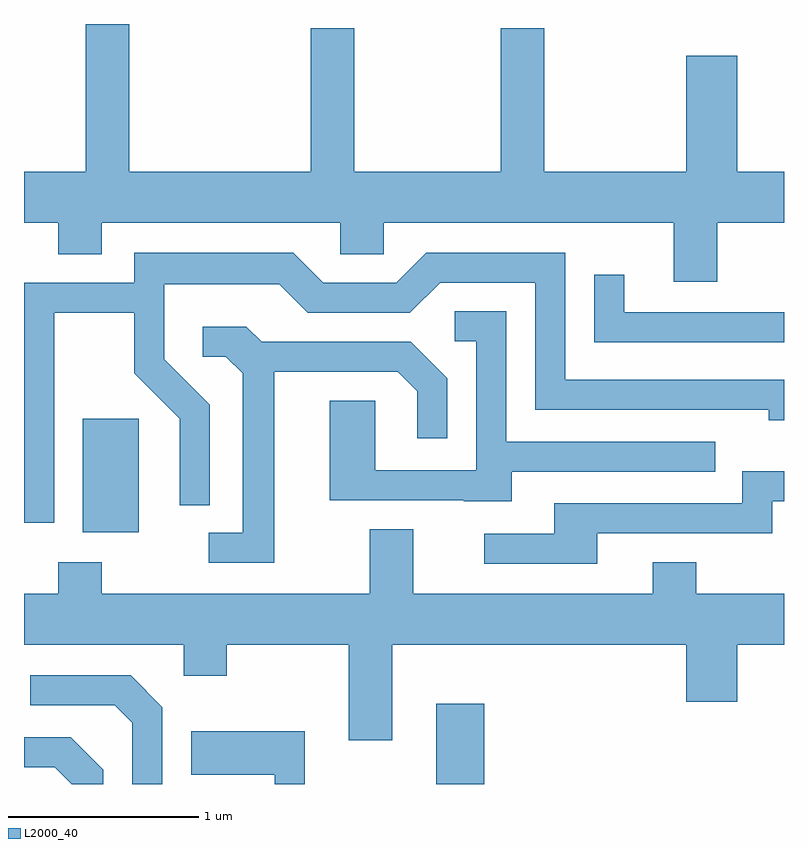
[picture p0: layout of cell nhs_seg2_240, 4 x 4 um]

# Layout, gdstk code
import gdstk
lib = gdstk.Library(unit=1e-6, precision=1e-09)
def R(c, l, rs):  # rectangles x0, y0, x1, y1
    for r in rs: c.add(gdstk.rectangle(r[:2], r[2:], *l))
def P(c, l, *ps):  # polygons
    for p in ps: c.add(gdstk.Polygon(p, *l))
L2000_40 = (2000, 40)

nhs_seg2_240 = lib.new_cell('nhs_seg2_240')
R(nhs_seg2_240, L2000_40, [(193.781,1049.802,194.034,1050.224), (191.921,1051.126,192.214,1051.724)])
P(nhs_seg2_240, L2000_40, [(195.259,1052.756),(195.611,1052.756),(195.611,1053.024),(195.364,1053.024),(195.364,1053.634),(195.096,1053.634),(195.096,1053.024),(194.349,1053.024),(194.349,1053.779),(194.121,1053.779),(194.121,1053.024),(193.349,1053.024),(193.349,1053.779),(193.121,1053.779),(193.121,1053.024),(192.164,1053.024),(192.164,1053.802),(191.936,1053.802),(191.936,1053.024),(191.611,1053.024),(191.611,1052.756),(191.791,1052.756),(191.791,1052.591),(192.019,1052.591),(192.019,1052.756),(193.276,1052.756),(193.276,1052.591),(193.504,1052.591),(193.504,1052.756),(195.031,1052.756),(195.031,1052.446),(195.259,1052.446)],
  [(191.769,1052.281),(192.191,1052.281),(192.191,1051.964),(192.431,1051.724),(192.431,1051.268),(192.589,1051.268),(192.589,1051.797),(192.349,1052.037),(192.349,1052.431),(192.954,1052.431),(193.104,1052.281),(193.642,1052.281),(193.802,1052.441),(194.301,1052.441),(194.301,1051.771),(195.531,1051.771),(195.531,1051.716),(195.611,1051.716),(195.611,1051.929),(194.459,1051.929),(194.459,1052.599),(193.729,1052.599),(193.569,1052.439),(193.187,1052.439),(193.027,1052.599),(192.191,1052.599),(192.191,1052.439),(191.611,1052.439),(191.611,1051.176),(191.769,1051.176)],
  [(195.611,1052.284),(194.769,1052.284),(194.769,1052.483),(194.611,1052.483),(194.611,1052.126),(195.611,1052.126)],
  [(194.179,1051.446),(195.248,1051.446),(195.248,1051.604),(194.149,1051.604),(194.149,1052.289),(193.878,1052.289),(193.878,1052.131),(193.991,1052.131),(193.991,1051.454),(193.459,1051.454),(193.459,1051.819),(193.221,1051.819),(193.221,1051.296),(193.925,1051.296),(193.925,1051.291),(194.179,1051.291)],
  [(192.929,1051.971),(193.579,1051.971),(193.681,1051.869),(193.681,1051.623),(193.839,1051.623),(193.839,1051.937),(193.647,1052.129),(192.862,1052.129),(192.782,1052.209),(192.553,1052.209),(192.553,1052.051),(192.674,1052.051),(192.761,1051.964),(192.761,1051.124),(192.583,1051.124),(192.583,1050.966),(192.929,1050.966)],
  [(194.629,1051.121),(195.549,1051.121),(195.549,1051.291),(195.611,1051.291),(195.611,1051.449),(195.391,1051.449),(195.391,1051.279),(194.401,1051.279),(194.401,1051.119),(194.033,1051.119),(194.033,1050.961),(194.629,1050.961)],
  [(193.549,1050.536),(195.096,1050.536),(195.096,1050.236),(195.364,1050.236),(195.364,1050.536),(195.611,1050.536),(195.611,1050.804),(195.149,1050.804),(195.149,1050.969),(194.921,1050.969),(194.921,1050.804),(193.659,1050.804),(193.659,1051.144),(193.431,1051.144),(193.431,1050.804),(192.019,1050.804),(192.019,1050.969),(191.791,1050.969),(191.791,1050.804),(191.611,1050.804),(191.611,1050.536),(192.451,1050.536),(192.451,1050.371),(192.679,1050.371),(192.679,1050.536),(193.321,1050.536),(193.321,1050.031),(193.549,1050.031)],
  [(192.339,1050.207),(192.172,1050.374),(191.643,1050.374),(191.643,1050.216),(192.089,1050.216),(192.181,1050.124),(192.181,1049.802),(192.339,1049.802)],
  [(193.089,1050.079),(192.491,1050.079),(192.491,1049.851),(192.931,1049.851),(192.931,1049.802),(193.089,1049.802)],
  [(192.029,1049.877),(191.857,1050.049),(191.611,1050.049),(191.611,1049.891),(191.774,1049.891),(191.863,1049.802),(192.029,1049.802)])

lib.write_gds('nhs_seg2_240.gds')
